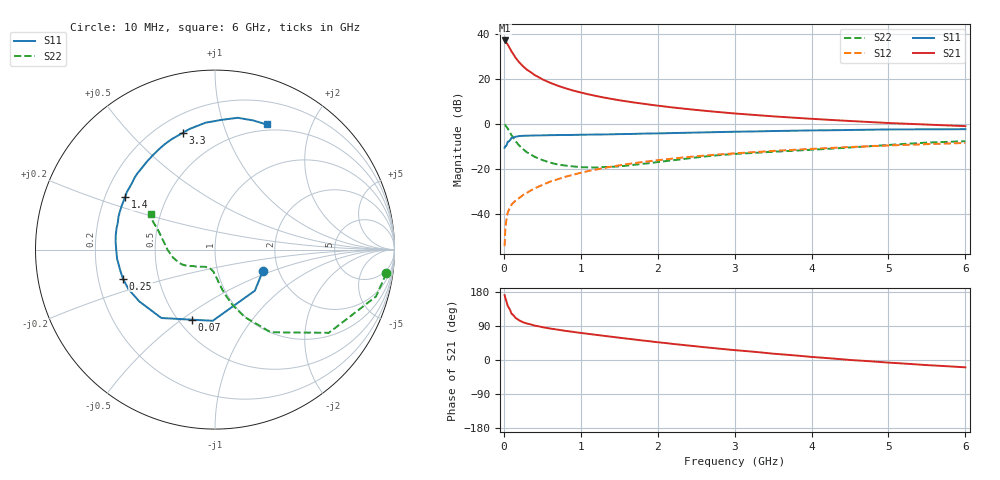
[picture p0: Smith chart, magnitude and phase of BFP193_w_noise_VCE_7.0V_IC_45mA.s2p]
! Infineon Technologies  Discrete & RF Semiconductors
! BFP193
! VCE =  7.0 V,  IC =  45 mA
! Common Emitter S-Parameters:  Jan 2017
# GHz  S  MA  R  50
!  f  S11  S21  S12  S22
! GHz  MAG  ANG  MAG  ANG  MAG  ANG  MAG  ANG
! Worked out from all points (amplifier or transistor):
!   77 points, 10 MHz to 6 GHz, reference 50 ohm
!   highest |S21| = 37.0 dB at 10 MHz (marker M1)
!   |S21| within 3 dB of that: start of sweep to 69.73 MHz
!   unconditionally stable (mu >= 1): 643.9 MHz to 2.383 GHz
!   at 130 MHz: K = 0.57, MSG = 32.7 dB, |S12| = -34.9 dB
!   at 2.2 GHz: K = 1.01, MAG = 10.7 dB, |S12| = -15.5 dB
!   at 6 GHz: K = 0.91, MSG = 3.7 dB, |S12| = -8.6 dB
!   lowest NFmin = 1.45 dB at 450 MHz
!   S11 on the Smith chart (normalised r, x): 10 MHz: 1.66, -0.43; 70 MHz: 0.58, -0.55; 250 MHz: 0.31, -0.14; 1.4 GHz: 0.28, +0.25; 3.3 GHz: 0.30, +0.72; 6 GHz: 0.43, +1.40
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0.01  0.2922 -23.6  70.57 171.0  0.0019 90.6  0.9636 -7.8
0.02  0.3189 -45.9  69.04 163.2  0.0049 82.4  0.9346 -16.2
0.05  0.3968 -91.8  57.44 142.8  0.0104 66.8  0.7854 -36.2
0.07  0.4106 -108.0  49.87 136.3  0.0126 63.1  0.6844 -42.5
0.1  0.4844 -128.1  40.23 122.4  0.0159 59.5  0.5553 -56.0
0.15  0.5114 -145.7  29.51 111.5  0.0193 58.8  0.4114 -66.1
0.2  0.5301 -155.4  23.05 104.6  0.0223 60.1  0.3266 -72.2
0.25  0.5377 -162.5  18.79 99.6  0.0261 61.1  0.2708 -76.1
0.3  0.5405 -167.6  15.82 96.3  0.0291 62.0  0.2316 -79.3
0.4  0.548 -174.8  12.06 90.8  0.0365 66.2  0.1833 -83.6
0.5  0.5506 179.8  9.69 86.7  0.0434 66.2  0.1557 -87.3
0.6  0.5555 175.4  8.128 83.1  0.0514 66.6  0.1369 -91.1
0.7  0.5588 171.6  6.977 80.1  0.0582 67.8  0.1238 -93.9
0.9  0.5621 164.4  5.442 74.2  0.0733 67.0  0.1125 -100.7
1.1  0.5709 158.2  4.487 68.9  0.0889 65.7  0.1071 -107.6
1.4  0.5803 149.5  3.552 61.3  0.1111 63.0  0.1098 -118.8
2.1  0.6132 130.6  2.399 44.8  0.1611 54.9  0.1469 -140.7
3.1  0.6654 109.1  1.637 24.4  0.2247 42.5  0.2171 -161.7
3.3  0.6747 105.5  1.542 20.8  0.2362 40.2  0.227 -165.6
4.1  0.711 92.8  1.254 6.6  0.2809 30.9  0.2694 178.0
5.1  0.7455 78.9  1.018 -8.1  0.3324 19.4  0.3449 159.7
6  0.7542 67.6  0.882 -19.4  0.3731 9.4  0.4072 151.2
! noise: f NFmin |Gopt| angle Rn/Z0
0.45  1.45  0.4  -171  0.08
0.9  1.49  0.43  -165  0.08
1.9  2.13  0.59  -134  0.21
2.4  2.45  0.63  -119  0.45
